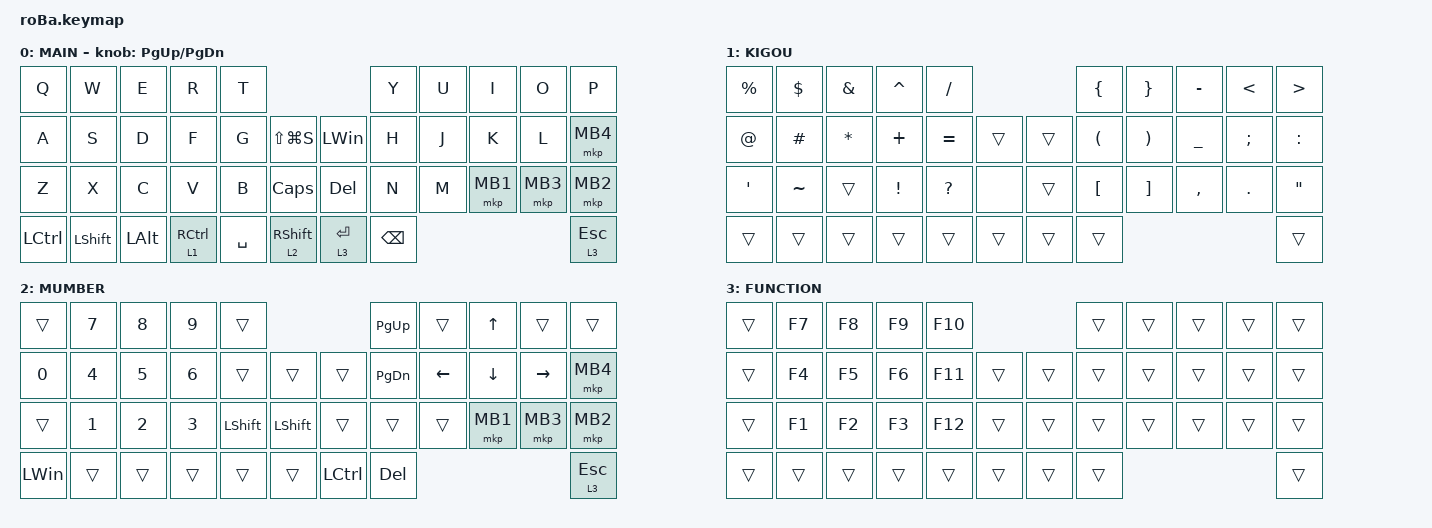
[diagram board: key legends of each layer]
#include <behaviors.dtsi>
#include <dt-bindings/zmk/keys.h>
#include <dt-bindings/zmk/pointing.h>

#define MOUSE 4
#define SCROLL 5
#define NUM 6

&mt {
    flavor = "balanced";
    quick-tap-ms = <0>;
};

/ {
    combos {
        compatible = "zmk,combos";

        tab {
            bindings = <&kp TAB>;
            key-positions = <11 10>;
        };

        muhennkann {
            bindings = <&to_layer_0 INT_MUHENKAN>;
            key-positions = <11 10>;
        };

        double_quotation {
            bindings = <&kp DOUBLE_QUOTES>;
            key-positions = <20 21>;
        };

        eq {
            bindings = <&kp EQUAL>;
            key-positions = <24 25>;
        };
    };

    macros {
        to_layer_0: to_layer_0 {
            compatible = "zmk,behavior-macro-one-param";
            #binding-cells = <1>;
            bindings = <&to 0 &macro_param_1to1 &kp MACRO_PLACEHOLDER>;
            label = "TO_LAYER_0";
        };
    };

    behaviors {
        lt_to_layer_0: lt_to_layer_0 {
            compatible = "zmk,behavior-hold-tap";
            label = "LAYER_TAP_TO_0";
            bindings = <&mo>, <&to_layer_0>;

            #binding-cells = <2>;
            tapping-term-ms = <200>;
        };
    };

    keymap {
        compatible = "zmk,keymap";

        MAIN {
            bindings = <
&kp Q             &kp W           &kp E         &kp R                &kp T                                           &kp Y          &kp U  &kp I     &kp O     &kp P
&kp A             &kp S           &kp D         &kp F                &kp G      &kp LS(LG(S))          &kp LEFT_WIN  &kp H          &kp J  &kp K     &kp L     &mkp MB4
&kp Z             &kp X           &kp C         &kp V                &kp B      &kp CAPSLOCK           &kp DELETE    &kp N          &kp M  &mkp MB1  &mkp MB3  &mkp MB2
&kp LEFT_CONTROL  &kp LEFT_SHIFT  &kp LEFT_ALT  &lt 1 RIGHT_CONTROL  &kp SPACE  &lt 2 RIGHT_SHIFT      &lt 3 ENTER   &kp BACKSPACE                             &lt 3 ESCAPE
            >;

            sensor-bindings = <&inc_dec_kp PG_UP PAGE_DOWN>;
        };

        KIGOU {
            bindings = <
&kp PERCENT  &kp DOLLAR  &kp AMPERSAND  &kp CARET        &kp SLASH                         &kp LEFT_BRACE        &kp RIGHT_BRACE        &kp MINUS  &kp LESS_THAN  &kp GREATER_THAN
&kp AT_SIGN  &kp HASH    &kp ASTERISK   &kp PLUS         &kp EQUAL     &trans      &trans  &kp LEFT_PARENTHESIS  &kp RIGHT_PARENTHESIS  &kp UNDER  &kp SEMICOLON  &kp COLON
&kp SQT      &kp TILDE   &trans         &kp EXCLAMATION  &kp QUESTION  &none       &trans  &kp LEFT_BRACKET      &kp RIGHT_BRACKET      &kp COMMA  &kp PERIOD     &kp DOUBLE_QUOTES
&trans       &trans      &trans         &trans           &trans        &trans      &trans  &trans                                                                 &trans
            >;
        };

        MUMBER {
            bindings = <
&trans        &kp N7  &kp N8  &kp N9  &trans                                                &kp PAGE_UP    &trans    &kp UP    &trans     &trans
&kp N0        &kp N4  &kp N5  &kp N6  &trans          &trans              &trans            &kp PAGE_DOWN  &kp LEFT  &kp DOWN  &kp RIGHT  &mkp MB4
&trans        &kp N1  &kp N2  &kp N3  &kp LEFT_SHIFT  &kp LEFT_SHIFT      &trans            &trans         &trans    &mkp MB1  &mkp MB3   &mkp MB2
&kp LEFT_WIN  &trans  &trans  &trans  &trans          &trans              &kp LEFT_CONTROL  &kp DELETE                                    &lt 3 ESCAPE
            >;
        };

        FUNCTION {
            bindings = <
&trans  &kp F7  &kp F8  &kp F9  &kp F10                      &trans  &trans  &trans  &trans  &trans
&trans  &kp F4  &kp F5  &kp F6  &kp F11  &trans      &trans  &trans  &trans  &trans  &trans  &trans
&trans  &kp F1  &kp F2  &kp F3  &kp F12  &trans      &trans  &trans  &trans  &trans  &trans  &trans
&trans  &trans  &trans  &trans  &trans   &trans      &trans  &trans                          &trans
            >;
        };
    };
};
